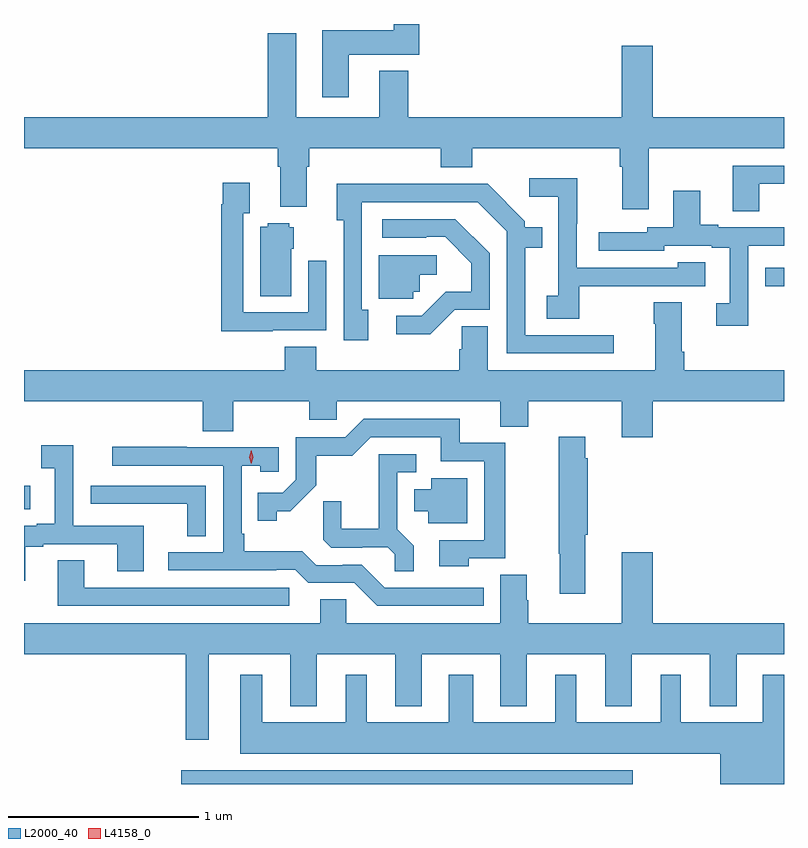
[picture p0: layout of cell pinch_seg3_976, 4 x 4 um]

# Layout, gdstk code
import gdstk
lib = gdstk.Library(unit=1e-6, precision=1e-09)
def R(c, l, rs):  # rectangles x0, y0, x1, y1
    for r in rs: c.add(gdstk.rectangle(r[:2], r[2:], *l))
def P(c, l, *ps):  # polygons
    for p in ps: c.add(gdstk.Polygon(p, *l))
L2000_40 = (2000, 40)
L4158_0 = (4158, 0)

pinch_seg3_976 = lib.new_cell('pinch_seg3_976')
R(pinch_seg3_976, L2000_40, [(450.402,713.554,452.779,713.626), (449.575,715.001,449.608,715.125), (453.477,716.175,453.575,716.27)])
P(pinch_seg3_976, L2000_40, [(451.285,717.392),(451.655,717.392),(451.655,717.554),(451.52,717.554),(451.52,717.52),(451.145,717.52),(451.145,717.168),(451.285,717.168)],
  [(452.863,716.9),(453.575,716.9),(453.575,717.064),(452.884,717.064),(452.884,717.439),(452.72,717.439),(452.72,717.064),(451.598,717.064),(451.598,717.307),(451.445,717.307),(451.445,717.064),(451.009,717.064),(451.009,717.505),(450.857,717.505),(450.857,717.064),(449.575,717.064),(449.575,716.9),(450.911,716.9),(450.911,716.804),(450.923,716.804),(450.923,716.591),(451.063,716.591),(451.063,716.804),(451.076,716.804),(451.076,716.9),(451.769,716.9),(451.769,716.801),(451.934,716.801),(451.934,716.9),(452.711,716.9),(452.711,716.804),(452.723,716.804),(452.723,716.58),(452.863,716.58)],
  [(453.445,716.712),(453.575,716.712),(453.575,716.808),(453.305,716.808),(453.305,716.569),(453.445,716.569)],
  [(452.497,716.173),(452.801,716.173),(452.801,716.175),(453.16,716.175),(453.16,716.299),(453.015,716.299),(453.015,716.271),(452.484,716.271),(452.484,716.504),(452.487,716.504),(452.487,716.743),(452.235,716.743),(452.235,716.645),(452.388,716.645),(452.388,716.124),(452.325,716.124),(452.325,716.002),(452.497,716.002)],
  [(450.883,715.941),(451.167,715.941),(451.167,716.308),(451.071,716.308),(451.071,716.037),(450.729,716.037),(450.729,716.558),(450.763,716.558),(450.763,716.719),(450.621,716.719),(450.621,716.606),(450.613,716.606),(450.613,715.937),(450.883,715.937)],
  [(452.68,715.917),(452.212,715.917),(452.212,716.376),(452.303,716.376),(452.303,716.485),(452.211,716.485),(452.211,716.517),(452.016,716.712),(451.685,716.712),(451.685,716.714),(451.22,716.714),(451.22,716.522),(451.257,716.522),(451.257,715.89),(451.387,715.89),(451.387,716.05),(451.353,716.05),(451.353,716.616),(451.962,716.616),(452.115,716.463),(452.115,715.821),(452.68,715.821)],
  [(453.387,716.388),(453.575,716.388),(453.575,716.484),(453.229,716.484),(453.229,716.497),(453.133,716.497),(453.133,716.677),(452.993,716.677),(452.993,716.484),(452.856,716.484),(452.856,716.457),(452.601,716.457),(452.601,716.361),(452.946,716.361),(452.946,716.388),(453.194,716.388),(453.194,716.376),(453.29,716.376),(453.29,716.085),(453.219,716.085),(453.219,715.965),(453.387,715.965)],
  [(451.842,716.049),(452.025,716.049),(452.025,716.347),(451.846,716.526),(451.461,716.526),(451.461,716.43),(451.691,716.43),(451.691,716.433),(451.791,716.433),(451.928,716.296),(451.928,716.146),(451.795,716.146),(451.668,716.019),(451.533,716.019),(451.533,715.922),(451.714,715.922)],
  [(450.982,716.37),(450.994,716.37),(450.994,716.484),(450.972,716.484),(450.972,716.506),(450.858,716.506),(450.858,716.488),(450.818,716.488),(450.818,716.122),(450.982,716.122)],
  [(451.623,716.145),(451.659,716.145),(451.659,716.234),(451.747,716.234),(451.747,716.337),(451.442,716.337),(451.442,716.109),(451.623,716.109)],
  [(452.884,715.568),(453.575,715.568),(453.575,715.732),(453.05,715.732),(453.05,715.828),(453.037,715.828),(453.037,716.089),(452.89,716.089),(452.89,715.976),(452.897,715.976),(452.897,715.732),(452.017,715.732),(452.017,715.964),(451.879,715.964),(451.879,715.842),(451.865,715.842),(451.865,715.732),(451.112,715.732),(451.112,715.856),(450.947,715.856),(450.947,715.732),(449.575,715.732),(449.575,715.568),(450.515,715.568),(450.515,715.411),(450.675,715.411),(450.675,715.568),(451.075,715.568),(451.075,715.47),(451.221,715.47),(451.221,715.568),(452.081,715.568),(452.081,715.435),(452.229,715.435),(452.229,715.568),(452.72,715.568),(452.72,715.38),(452.884,715.38)],
  [(451.917,714.741),(452.107,714.741),(452.107,715.35),(451.868,715.35),(451.868,715.476),(451.362,715.476),(451.266,715.38),(451.005,715.38),(451.005,715.155),(450.936,715.086),(450.805,715.086),(450.805,714.939),(450.906,714.939),(450.906,714.989),(450.976,714.989),(451.114,715.126),(451.114,715.282),(451.303,715.282),(451.401,715.38),(451.769,715.38),(451.769,715.254),(451.998,715.254),(451.998,714.837),(451.761,714.837),(451.761,714.701),(451.917,714.701)],
  [(452.53,714.867),(452.543,714.867),(452.543,715.268),(452.53,715.268),(452.53,715.381),(452.389,715.381),(452.389,714.767),(452.396,714.767),(452.396,714.555),(452.53,714.555)],
  [(449.581,714.804),(449.677,714.804),(449.677,714.816),(450.065,714.816),(450.065,714.673),(450.205,714.673),(450.205,714.912),(449.835,714.912),(449.835,715.336),(449.667,715.336),(449.667,715.216),(449.738,715.216),(449.738,714.925),(449.642,714.925),(449.642,714.912),(449.575,714.912),(449.575,714.624),(449.581,714.624)],
  [(451.996,714.588),(451.473,714.588),(451.353,714.708),(451.252,714.708),(451.252,714.705),(451.113,714.705),(451.04,714.778),(450.733,714.778),(450.733,714.871),(450.72,714.871),(450.72,715.229),(450.819,715.229),(450.819,715.197),(450.915,715.197),(450.915,715.326),(450.431,715.326),(450.431,715.329),(450.039,715.329),(450.039,715.23),(450.624,715.23),(450.624,714.774),(450.333,714.774),(450.333,714.678),(450.902,714.678),(450.902,714.681),(451.002,714.681),(451.071,714.612),(451.314,714.612),(451.434,714.492),(451.996,714.492)],
  [(451.625,714.809),(451.539,714.895),(451.539,715.194),(451.639,715.194),(451.639,715.29),(451.442,715.29),(451.442,714.898),(451.244,714.898),(451.244,715.041),(451.15,715.041),(451.15,714.839),(451.191,714.798),(451.356,714.798),(451.356,714.801),(451.49,714.801),(451.527,714.764),(451.527,714.673),(451.625,714.673)],
  [(451.909,715.162),(451.718,715.162),(451.718,715.105),(451.628,715.105),(451.628,714.989),(451.703,714.989),(451.703,714.926),(451.909,714.926)],
  [(450.531,715.125),(449.925,715.125),(449.925,715.03),(450.037,715.03),(450.037,715.029),(450.433,715.029),(450.433,714.859),(450.531,714.859)],
  [(450.547,714.236),(450.977,714.236),(450.977,713.963),(451.117,713.963),(451.117,714.236),(451.529,714.236),(451.529,713.963),(451.669,713.963),(451.669,714.236),(452.081,714.236),(452.081,713.963),(452.221,713.963),(452.221,714.236),(452.633,714.236),(452.633,713.963),(452.773,713.963),(452.773,714.236),(453.185,714.236),(453.185,713.963),(453.325,713.963),(453.325,714.236),(453.575,714.236),(453.575,714.4),(452.884,714.4),(452.884,714.775),(452.72,714.775),(452.72,714.4),(452.229,714.4),(452.229,714.522),(452.221,714.522),(452.221,714.656),(452.081,714.656),(452.081,714.4),(451.272,714.4),(451.272,714.527),(451.133,714.527),(451.133,714.4),(449.575,714.4),(449.575,714.236),(450.426,714.236),(450.426,713.787),(450.547,713.787)],
  [(450.97,714.588),(449.893,714.588),(449.893,714.731),(449.753,714.731),(449.753,714.492),(450.97,714.492)],
  [(453.575,714.13),(453.464,714.13),(453.464,713.878),(453.031,713.878),(453.031,714.13),(452.927,714.13),(452.927,713.878),(452.482,713.878),(452.482,714.13),(452.372,714.13),(452.372,713.878),(451.939,713.878),(451.939,714.13),(451.811,714.13),(451.811,713.878),(451.378,713.878),(451.378,714.13),(451.268,714.13),(451.268,713.878),(450.829,713.878),(450.829,714.13),(450.713,714.13),(450.713,713.714),(453.239,713.714),(453.239,713.554),(453.575,713.554)])
P(pinch_seg3_976, L4158_0, [(450.772,715.239),(450.772,715.239),(450.761,715.274),(450.77,715.31),(450.77,715.311),(450.771,715.31),(450.781,715.275),(450.772,715.239)])

lib.write_gds('pinch_seg3_976.gds')
